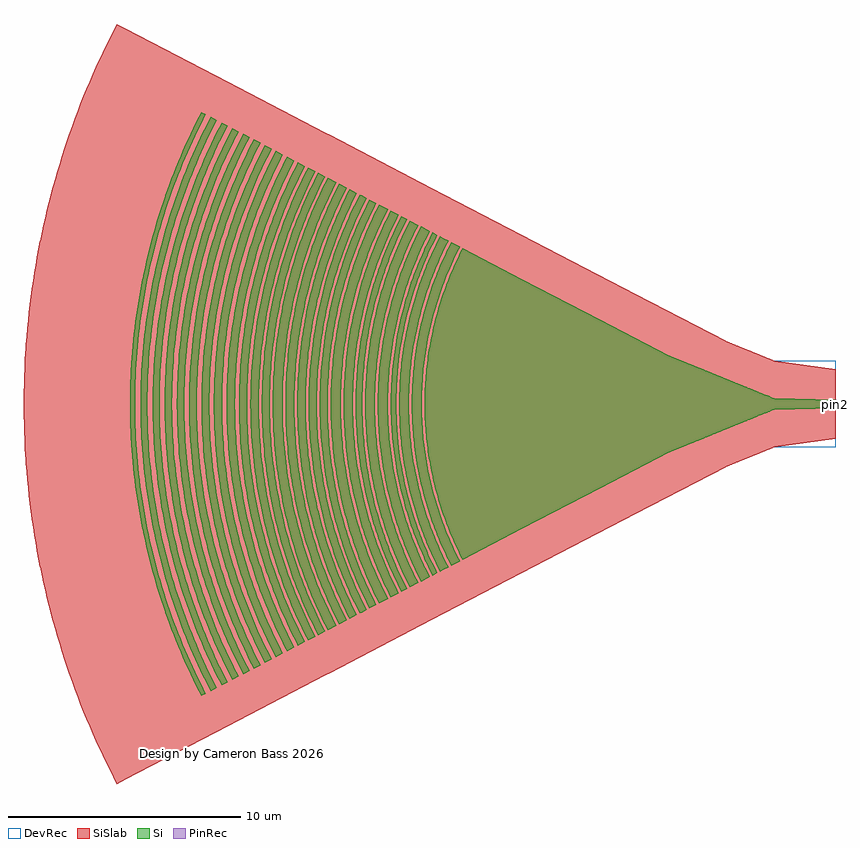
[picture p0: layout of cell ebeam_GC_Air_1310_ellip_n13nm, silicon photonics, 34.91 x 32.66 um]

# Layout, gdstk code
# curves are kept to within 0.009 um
import gdstk
lib = gdstk.Library(unit=1e-6, precision=1e-09)
def P(c, l, *ps):  # polygons
    for p in ps: c.add(gdstk.Polygon(p, *l))
Si = (1, 0)
PinRec = (1, 10)
SiSlab = (2, 0)
DevRec = (68, 0)

ebeam_gc_air_1310_ellip_ = lib.new_cell('ebeam_GC_Air_1310_ellip_n13nm')
P(ebeam_gc_air_1310_ellip_, Si, [(-16.042,-6.698),(-16.398,-5.964),(-16.772,-5.048),(-17.001,-4.38),(-17.265,-3.428),(-17.441,-2.599),(-17.568,-1.761),(-17.646,-0.917),(-17.674,-0.071),(-17.646,0.917),(-17.568,1.761),(-17.441,2.6),(-17.265,3.428),(-17.001,4.38),(-16.772,5.048),(-16.398,5.964),(-16.042,6.698),(-7.157,2.071),(-3.19,0.452),(-2.882,0.338),(-2.697,0.25),(-2.651,0.237),(0,0.175),(0,-0.175),(-2.664,-0.239),(-2.851,-0.325),(-3.205,-0.458),(-7.128,-2.058)],
  [(-16.534,-6.953),(-16.901,-6.194),(-17.238,-5.38),(-17.527,-4.549),(-17.766,-3.703),(-17.957,-2.843),(-18.097,-1.974),(-18.196,-0.953),(-18.226,-0.073),(-18.205,0.806),(-18.132,1.684),(-17.984,2.7),(-17.801,3.56),(-17.527,4.549),(-17.238,5.38),(-16.901,6.194),(-16.534,6.954),(-16.155,6.756),(-16.513,6.015),(-16.84,5.226),(-17.12,4.419),(-17.282,3.872),(-17.388,3.458),(-17.565,2.622),(-17.693,1.777),(-17.78,0.784),(-17.8,0.071),(-17.78,-0.784),(-17.693,-1.777),(-17.565,-2.621),(-17.388,-3.458),(-17.12,-4.419),(-16.84,-5.226),(-16.513,-6.015),(-16.155,-6.756)],
  [(-17.015,-7.204),(-17.395,-6.418),(-17.744,-5.575),(-18.043,-4.714),(-18.291,-3.837),(-18.488,-2.947),(-18.633,-2.046),(-18.726,-1.139),(-18.753,-0.683),(-18.767,-0.076),(-18.745,0.835),(-18.67,1.744),(-18.613,2.197),(-18.516,2.797),(-18.327,3.689),(-18.174,4.278),(-18.043,4.714),(-17.744,5.575),(-17.395,6.418),(-17.015,7.204),(-16.646,7.012),(-16.893,6.515),(-17.076,6.11),(-17.407,5.288),(-17.69,4.446),(-17.925,3.59),(-18.108,2.722),(-18.241,1.845),(-18.322,0.961),(-18.352,0.074),(-18.331,-0.813),(-18.241,-1.845),(-18.108,-2.722),(-17.925,-3.59),(-17.69,-4.446),(-17.407,-5.287),(-17.076,-6.11),(-16.893,-6.515),(-16.646,-7.012)],
  [(-17.335,-7.371),(-17.724,-6.566),(-18.081,-5.704),(-18.387,-4.823),(-18.641,-3.926),(-18.843,-3.014),(-18.924,-2.555),(-19.011,-1.939),(-19.097,-1.01),(-19.128,-0.078),(-19.106,0.855),(-19.029,1.785),(-18.898,2.709),(-18.813,3.167),(-18.678,3.775),(-18.433,4.674),(-18.136,5.558),(-17.968,5.994),(-17.724,6.567),(-17.335,7.371),(-17.128,7.262),(-17.572,6.329),(-17.915,5.477),(-18.116,4.898),(-18.295,4.312),(-18.52,3.421),(-18.667,2.669),(-18.778,1.911),(-18.862,0.996),(-18.893,0.077),(-18.871,-0.843),(-18.812,-1.606),(-18.716,-2.366),(-18.552,-3.271),(-18.295,-4.312),(-17.967,-5.332),(-17.806,-5.763),(-17.572,-6.329),(-17.128,-7.262)],
  [(-17.831,-7.629),(-18.298,-6.649),(-18.659,-5.753),(-18.967,-4.838),(-19.22,-3.907),(-19.42,-2.962),(-19.564,-2.007),(-19.653,-1.045),(-19.686,-0.08),(-19.662,0.885),(-19.583,1.847),(-19.448,2.804),(-19.327,3.436),(-19.22,3.907),(-18.967,4.838),(-18.659,5.753),(-18.485,6.204),(-18.233,6.797),(-17.831,7.629),(-17.448,7.429),(-17.903,6.475),(-18.198,5.75),(-18.507,4.861),(-18.764,3.957),(-18.996,2.884),(-19.136,1.955),(-19.2,1.331),(-19.232,0.862),(-19.254,0.078),(-19.232,-0.862),(-19.2,-1.331),(-19.136,-1.955),(-18.996,-2.884),(-18.801,-3.804),(-18.684,-4.259),(-18.507,-4.861),(-18.198,-5.75),(-17.903,-6.475),(-17.448,-7.429)],
  [(-18.311,-7.879),(-18.727,-7.018),(-18.987,-6.406),(-19.166,-5.941),(-19.485,-4.996),(-19.746,-4.034),(-19.952,-3.059),(-20.102,-2.072),(-20.193,-1.08),(-20.227,-0.083),(-20.203,0.914),(-20.121,1.908),(-19.981,2.895),(-19.785,3.873),(-19.485,4.996),(-19.166,5.942),(-18.987,6.406),(-18.727,7.019),(-18.311,7.879),(-17.945,7.688),(-18.35,6.848),(-18.542,6.402),(-18.778,5.798),(-19.088,4.876),(-19.345,3.937),(-19.546,2.984),(-19.691,2.023),(-19.781,1.054),(-19.814,0.081),(-19.79,-0.892),(-19.71,-1.861),(-19.574,-2.825),(-19.485,-3.304),(-19.345,-3.936),(-19.224,-4.407),(-19.04,-5.03),(-18.721,-5.95),(-18.35,-6.848),(-17.945,-7.688)],
  [(-18.673,-8.067),(-19.099,-7.185),(-19.49,-6.241),(-19.825,-5.277),(-19.971,-4.788),(-20.143,-4.13),(-20.354,-3.132),(-20.507,-2.121),(-20.601,-1.105),(-20.635,-0.085),(-20.611,0.935),(-20.527,1.953),(-20.384,2.964),(-20.256,3.632),(-20.143,4.13),(-19.875,5.115),(-19.549,6.083),(-19.168,7.03),(-18.957,7.494),(-18.673,8.067),(-18.424,7.938),(-18.703,7.375),(-18.91,6.917),(-19.166,6.299),(-19.342,5.828),(-19.505,5.353),(-19.699,4.713),(-19.83,4.227),(-19.981,3.575),(-20.16,2.586),(-20.265,1.755),(-20.33,0.921),(-20.354,0.084),(-20.33,-0.921),(-20.265,-1.755),(-20.16,-2.586),(-20.015,-3.411),(-19.909,-3.901),(-19.745,-4.55),(-19.556,-5.193),(-19.398,-5.67),(-19.166,-6.298),(-18.977,-6.763),(-18.703,-7.375),(-18.424,-7.937)],
  [(-19.131,-8.306),(-19.57,-7.398),(-19.845,-6.752),(-20.034,-6.262),(-20.369,-5.266),(-20.645,-4.252),(-20.862,-3.224),(-21.02,-2.184),(-21.116,-1.138),(-21.152,-0.088),(-21.142,0.613),(-21.116,1.138),(-21.02,2.184),(-20.862,3.224),(-20.645,4.252),(-20.369,5.266),(-20.034,6.262),(-19.641,7.238),(-19.424,7.715),(-19.131,8.306),(-18.787,8.126),(-19.216,7.237),(-19.484,6.606),(-19.668,6.127),(-19.996,5.152),(-20.268,4.16),(-20.48,3.154),(-20.634,2.138),(-20.728,1.114),(-20.763,0.086),(-20.738,-0.943),(-20.654,-1.967),(-20.51,-2.985),(-20.416,-3.491),(-20.268,-4.16),(-19.996,-5.152),(-19.784,-5.803),(-19.608,-6.287),(-19.216,-7.236),(-18.787,-8.126)],
  [(-19.63,-8.566),(-20.081,-7.631),(-20.496,-6.629),(-20.851,-5.605),(-21.146,-4.562),(-21.38,-3.503),(-21.553,-2.433),(-21.663,-1.354),(-21.694,-0.813),(-21.712,-0.09),(-21.686,0.993),(-21.596,2.075),(-21.445,3.148),(-21.309,3.857),(-21.189,4.387),(-20.905,5.432),(-20.681,6.12),(-20.496,6.629),(-20.081,7.631),(-19.63,8.566),(-19.245,8.365),(-19.539,7.771),(-19.758,7.288),(-20.091,6.472),(-20.271,5.974),(-20.49,5.304),(-20.727,4.453),(-20.955,3.421),(-21.124,2.376),(-21.202,1.674),(-21.243,1.146),(-21.279,0.088),(-21.274,-0.441),(-21.243,-1.146),(-21.146,-2.2),(-20.988,-3.246),(-20.769,-4.282),(-20.49,-5.303),(-20.328,-5.807),(-20.091,-6.472),(-19.758,-7.288),(-19.539,-7.77),(-19.245,-8.365)],
  [(-20.045,-8.782),(-20.509,-7.821),(-20.934,-6.794),(-21.299,-5.744),(-21.601,-4.675),(-21.841,-3.59),(-22.018,-2.493),(-22.131,-1.388),(-22.163,-0.833),(-22.181,-0.093),(-22.154,1.018),(-22.063,2.125),(-21.993,2.677),(-21.875,3.409),(-21.645,4.496),(-21.353,5.567),(-20.999,6.62),(-20.584,7.652),(-20.354,8.157),(-20.045,8.782),(-19.747,8.626),(-19.971,8.178),(-20.275,7.517),(-20.553,6.845),(-20.744,6.333),(-20.976,5.644),(-21.133,5.121),(-21.274,4.593),(-21.438,3.885),(-21.604,2.99),(-21.727,2.088),(-21.817,1.001),(-21.843,0.091),(-21.833,-0.636),(-21.764,-1.726),(-21.659,-2.63),(-21.475,-3.706),(-21.359,-4.239),(-21.182,-4.945),(-20.976,-5.643),(-20.744,-6.333),(-20.553,-6.844),(-20.275,-7.516),(-19.971,-8.178),(-19.747,-8.626)],
  [(-20.465,-9.001),(-20.942,-8.014),(-21.378,-6.961),(-21.751,-5.886),(-21.915,-5.341),(-22.061,-4.791),(-22.192,-4.236),(-22.342,-3.493),(-22.512,-2.366),(-22.617,-1.233),(-22.656,-0.095),(-22.628,1.043),(-22.534,2.179),(-22.375,3.306),(-22.271,3.865),(-22.106,4.607),(-21.807,5.705),(-21.634,6.247),(-21.378,6.961),(-20.942,8.014),(-20.465,9.002),(-20.159,8.841),(-20.47,8.212),(-20.775,7.531),(-21.053,6.84),(-21.244,6.313),(-21.419,5.783),(-21.63,5.067),(-21.813,4.344),(-21.931,3.798),(-22.092,2.879),(-22.209,1.954),(-22.281,1.025),(-22.308,0.093),(-22.29,-0.839),(-22.227,-1.769),(-22.119,-2.695),(-21.931,-3.798),(-21.813,-4.344),(-21.63,-5.067),(-21.419,-5.783),(-21.244,-6.313),(-21.053,-6.839),(-20.775,-7.531),(-20.47,-8.212),(-20.159,-8.841)],
  [(-20.9,-9.227),(-21.39,-8.212),(-21.836,-7.134),(-22.036,-6.586),(-22.219,-6.032),(-22.387,-5.474),(-22.537,-4.91),(-22.671,-4.341),(-22.825,-3.579),(-23,-2.425),(-23.107,-1.263),(-23.146,-0.097),(-23.141,0.487),(-23.107,1.263),(-23,2.425),(-22.825,3.58),(-22.583,4.721),(-22.277,5.846),(-21.905,6.952),(-21.469,8.035),(-21.227,8.566),(-20.9,9.227),(-20.583,9.061),(-20.904,8.413),(-21.216,7.715),(-21.501,7.007),(-21.697,6.468),(-21.877,5.924),(-22.093,5.191),(-22.236,4.636),(-22.401,3.891),(-22.566,2.95),(-22.686,2.002),(-22.76,1.051),(-22.788,0.096),(-22.769,-0.86),(-22.705,-1.812),(-22.594,-2.761),(-22.401,-3.891),(-22.236,-4.636),(-22.093,-5.191),(-21.877,-5.924),(-21.697,-6.468),(-21.501,-7.007),(-21.216,-7.715),(-20.904,-8.413),(-20.583,-9.061)],
  [(-21.351,-9.462),(-21.687,-8.784),(-21.934,-8.239),(-22.166,-7.687),(-22.381,-7.129),(-22.763,-5.995),(-23.077,-4.841),(-23.325,-3.671),(-23.504,-2.487),(-23.614,-1.295),(-23.654,-0.1),(-23.649,0.499),(-23.614,1.296),(-23.504,2.487),(-23.325,3.671),(-23.077,4.841),(-22.763,5.995),(-22.381,7.13),(-22.166,7.688),(-21.934,8.24),(-21.687,8.784),(-21.351,9.462),(-21.013,9.285),(-21.258,8.797),(-21.585,8.085),(-21.812,7.544),(-22.09,6.812),(-22.28,6.257),(-22.509,5.508),(-22.707,4.75),(-22.877,3.987),(-23.046,3.023),(-23.169,2.051),(-23.245,1.076),(-23.273,0.098),(-23.254,-0.881),(-23.188,-1.857),(-23.075,-2.829),(-22.877,-3.986),(-22.707,-4.75),(-22.509,-5.508),(-22.34,-6.07),(-22.09,-6.812),(-21.812,-7.544),(-21.585,-8.085),(-21.342,-8.62),(-21.013,-9.285)],
  [(-21.839,-9.715),(-22.094,-9.206),(-22.436,-8.462),(-22.674,-7.895),(-22.895,-7.321),(-23.1,-6.743),(-23.287,-6.157),(-23.61,-4.972),(-23.746,-4.372),(-23.864,-3.77),(-23.965,-3.163),(-24.048,-2.554),(-24.161,-1.33),(-24.191,-0.716),(-24.202,-0.102),(-24.173,1.126),(-24.072,2.351),(-23.965,3.163),(-23.864,3.77),(-23.746,4.372),(-23.61,4.972),(-23.457,5.568),(-23.287,6.157),(-23.1,6.743),(-22.895,7.322),(-22.674,7.895),(-22.436,8.462),(-22.094,9.206),(-21.839,9.716),(-21.464,9.52),(-21.802,8.839),(-22.05,8.29),(-22.5,7.174),(-22.883,6.033),(-23.051,5.454),(-23.201,4.871),(-23.45,3.693),(-23.63,2.503),(-23.694,1.904),(-23.74,1.304),(-23.781,0.1),(-23.762,-0.903),(-23.694,-1.904),(-23.548,-3.099),(-23.374,-4.088),(-23.201,-4.871),(-23.051,-5.453),(-22.824,-6.224),(-22.635,-6.795),(-22.357,-7.549),(-22.13,-8.106),(-21.802,-8.839),(-21.464,-9.52)],
  [(-22.253,-9.931),(-22.779,-8.84),(-23.028,-8.263),(-23.26,-7.679),(-23.474,-7.09),(-23.734,-6.293),(-24.064,-5.082),(-24.323,-3.853),(-24.426,-3.233),(-24.511,-2.61),(-24.578,-1.986),(-24.627,-1.36),(-24.657,-0.733),(-24.669,-0.105),(-24.663,0.524),(-24.639,1.151),(-24.536,2.402),(-24.457,3.026),(-24.36,3.647),(-24.245,4.264),(-24.064,5.082),(-23.734,6.293),(-23.542,6.892),(-23.333,7.484),(-23.107,8.07),(-22.864,8.649),(-22.514,9.409),(-22.253,9.931),(-21.952,9.774),(-22.297,9.076),(-22.552,8.513),(-22.867,7.752),(-23.084,7.172),(-23.284,6.588),(-23.524,5.8),(-23.684,5.202),(-23.87,4.399),(-23.989,3.792),(-24.09,3.182),(-24.219,2.16),(-24.299,1.133),(-24.329,0.103),(-24.299,-1.133),(-24.219,-2.16),(-24.09,-3.182),(-23.989,-3.792),(-23.87,-4.399),(-23.684,-5.202),(-23.524,-5.798),(-23.284,-6.587),(-23.084,-7.172),(-22.791,-7.943),(-22.552,-8.512),(-22.297,-9.076),(-21.952,-9.774)],
  [(-22.687,-10.157),(-22.956,-9.621),(-23.227,-9.039),(-23.482,-8.449),(-23.719,-7.852),(-23.938,-7.249),(-24.14,-6.639),(-24.324,-6.024),(-24.541,-5.196),(-24.683,-4.569),(-24.806,-3.94),(-24.912,-3.306),(-24.999,-2.669),(-25.067,-2.031),(-25.117,-1.39),(-25.148,-0.75),(-25.16,-0.107),(-25.154,0.536),(-25.129,1.177),(-25.086,1.818),(-25.024,2.456),(-24.943,3.094),(-24.844,3.729),(-24.683,4.569),(-24.541,5.196),(-24.381,5.817),(-24.203,6.435),(-24.007,7.047),(-23.794,7.652),(-23.563,8.251),(-23.314,8.844),(-23.048,9.429),(-22.687,10.157),(-22.369,9.991),(-22.723,9.276),(-22.984,8.7),(-23.306,7.922),(-23.527,7.33),(-23.796,6.532),(-24.034,5.723),(-24.331,4.496),(-24.523,3.461),(-24.666,2.417),(-24.757,1.368),(-24.788,0.737),(-24.8,0.105),(-24.78,-0.948),(-24.743,-1.578),(-24.688,-2.207),(-24.556,-3.252),(-24.331,-4.496),(-24.141,-5.316),(-23.977,-5.927),(-23.796,-6.532),(-23.527,-7.33),(-23.306,-7.922),(-22.984,-8.7),(-22.723,-9.276),(-22.369,-9.991)],
  [(-23.119,-10.382),(-23.397,-9.828),(-23.674,-9.234),(-23.934,-8.631),(-24.177,-8.021),(-24.401,-7.405),(-24.608,-6.782),(-24.796,-6.154),(-24.965,-5.52),(-25.116,-4.882),(-25.249,-4.239),(-25.363,-3.593),(-25.458,-2.944),(-25.534,-2.293),(-25.606,-1.42),(-25.638,-0.765),(-25.65,-0.109),(-25.644,0.547),(-25.619,1.202),(-25.574,1.857),(-25.511,2.509),(-25.428,3.161),(-25.289,4.025),(-25.162,4.668),(-25.017,5.308),(-24.796,6.155),(-24.672,6.573),(-24.472,7.199),(-24.254,7.817),(-24.017,8.429),(-23.763,9.034),(-23.492,9.631),(-23.119,10.382),(-22.817,10.225),(-23.181,9.488),(-23.534,8.702),(-23.778,8.104),(-24.004,7.498),(-24.279,6.682),(-24.464,6.063),(-24.684,5.229),(-24.827,4.599),(-25.024,3.54),(-25.117,2.901),(-25.192,2.258),(-25.275,1.185),(-25.307,0.108),(-25.286,-0.97),(-25.192,-2.258),(-25.117,-2.9),(-25.024,-3.54),(-24.827,-4.599),(-24.684,-5.229),(-24.465,-6.063),(-24.279,-6.682),(-24.004,-7.498),(-23.778,-8.104),(-23.448,-8.899),(-23.181,-9.488),(-22.817,-10.224)],
  [(-23.588,-10.627),(-24.16,-9.446),(-24.426,-8.829),(-24.674,-8.205),(-24.904,-7.575),(-25.115,-6.938),(-25.308,-6.294),(-25.481,-5.647),(-25.636,-4.993),(-25.771,-4.337),(-25.923,-3.454),(-26.014,-2.789),(-26.085,-2.122),(-26.137,-1.453),(-26.17,-0.782),(-26.183,-0.112),(-26.176,0.56),(-26.15,1.23),(-26.105,1.9),(-26.04,2.567),(-25.955,3.233),(-25.851,3.897),(-25.683,4.775),(-25.534,5.43),(-25.367,6.08),(-25.181,6.724),(-24.976,7.364),(-24.753,7.996),(-24.511,8.622),(-24.251,9.241),(-23.973,9.852),(-23.588,10.627),(-23.275,10.463),(-23.651,9.704),(-23.924,9.102),(-24.18,8.493),(-24.493,7.669),(-24.707,7.044),(-24.964,6.201),(-25.136,5.562),(-25.335,4.704),(-25.537,3.62),(-25.686,2.528),(-25.749,1.871),(-25.794,1.212),(-25.826,0.11),(-25.805,-0.992),(-25.767,-1.651),(-25.709,-2.309),(-25.571,-3.403),(-25.335,-4.704),(-25.189,-5.348),(-24.965,-6.2),(-24.707,-7.043),(-24.493,-7.668),(-24.18,-8.493),(-23.924,-9.102),(-23.651,-9.704),(-23.275,-10.463)],
  [(-24.071,-10.878),(-24.369,-10.285),(-24.659,-9.663),(-24.932,-9.032),(-25.186,-8.394),(-25.421,-7.75),(-25.705,-6.879),(-25.895,-6.219),(-26.066,-5.555),(-26.218,-4.885),(-26.351,-4.212),(-26.464,-3.534),(-26.557,-2.853),(-26.63,-2.171),(-26.683,-1.486),(-26.717,-0.8),(-26.73,-0.114),(-26.723,0.573),(-26.697,1.258),(-26.65,1.943),(-26.557,2.854),(-26.464,3.534),(-26.351,4.212),(-26.218,4.885),(-26.066,5.555),(-25.895,6.219),(-25.705,6.879),(-25.495,7.533),(-25.266,8.181),(-25.018,8.821),(-24.752,9.454),(-24.468,10.078),(-24.071,10.878),(-23.763,10.717),(-24.054,10.137),(-24.34,9.523),(-24.608,8.902),(-24.937,8.063),(-25.233,7.21),(-25.434,6.564),(-25.616,5.912),(-25.829,5.035),(-25.965,4.372),(-26.083,3.706),(-26.236,2.588),(-26.334,1.465),(-26.367,0.789),(-26.38,0.113),(-26.358,-1.015),(-26.318,-1.69),(-26.26,-2.364),(-26.118,-3.483),(-26.007,-4.15),(-25.876,-4.815),(-25.727,-5.474),(-25.497,-6.347),(-25.233,-7.21),(-25.014,-7.85),(-24.777,-8.484),(-24.431,-9.317),(-24.054,-10.137),(-23.763,-10.717)],
  [(-24.541,-11.123),(-24.848,-10.513),(-25.145,-9.877),(-25.424,-9.232),(-25.683,-8.58),(-25.924,-7.921),(-26.145,-7.255),(-26.346,-6.582),(-26.584,-5.678),(-26.739,-4.993),(-26.875,-4.305),(-26.99,-3.612),(-27.085,-2.917),(-27.16,-2.219),(-27.215,-1.519),(-27.249,-0.819),(-27.262,-0.117),(-27.249,0.819),(-27.215,1.52),(-27.16,2.22),(-27.085,2.918),(-26.99,3.612),(-26.875,4.305),(-26.739,4.993),(-26.584,5.678),(-26.408,6.358),(-26.214,7.031),(-25.999,7.7),(-25.765,8.362),(-25.512,9.016),(-25.24,9.663),(-24.848,10.513),(-24.541,11.123),(-24.244,10.968),(-24.645,10.161),(-24.932,9.53),(-25.285,8.678),(-25.528,8.029),(-25.823,7.155),(-26.021,6.493),(-26.202,5.823),(-26.41,4.925),(-26.622,3.791),(-26.778,2.647),(-26.879,1.499),(-26.912,0.808),(-26.925,0.115),(-26.919,-0.576),(-26.892,-1.269),(-26.802,-2.418),(-26.722,-3.106),(-26.622,-3.791),(-26.41,-4.925),(-26.202,-5.823),(-26.022,-6.491),(-25.823,-7.155),(-25.528,-8.029),(-25.285,-8.678),(-24.932,-9.53),(-24.645,-10.161),(-24.244,-10.968)],
  [(-25.014,-11.369),(-25.329,-10.743),(-25.633,-10.094),(-25.917,-9.435),(-26.183,-8.768),(-26.428,-8.095),(-26.654,-7.414),(-26.861,-6.727),(-27.046,-6.034),(-27.211,-5.336),(-27.357,-4.633),(-27.481,-3.928),(-27.586,-3.218),(-27.669,-2.506),(-27.732,-1.791),(-27.783,-0.836),(-27.797,-0.12),(-27.79,0.598),(-27.762,1.314),(-27.713,2.03),(-27.644,2.743),(-27.553,3.455),(-27.401,4.399),(-27.262,5.103),(-27.103,5.802),(-26.861,6.728),(-26.725,7.186),(-26.506,7.869),(-26.267,8.545),(-26.008,9.214),(-25.633,10.094),(-25.329,10.743),(-25.014,11.369),(-24.724,11.218),(-25.136,10.389),(-25.429,9.744),(-25.703,9.092),(-25.958,8.433),(-26.194,7.765),(-26.478,6.865),(-26.669,6.183),(-26.891,5.266),(-27.119,4.109),(-27.228,3.41),(-27.317,2.707),(-27.386,2.003),(-27.434,1.297),(-27.468,0.118),(-27.461,-0.589),(-27.434,-1.297),(-27.342,-2.472),(-27.194,-3.643),(-27.078,-4.341),(-26.941,-5.036),(-26.728,-5.954),(-26.544,-6.638),(-26.268,-7.541),(-26.039,-8.21),(-25.703,-9.092),(-25.429,-9.744),(-25.136,-10.389),(-24.724,-11.217)],
  [(-25.476,-11.609),(-25.798,-10.969),(-26.108,-10.306),(-26.398,-9.633),(-26.669,-8.952),(-26.92,-8.265),(-27.151,-7.57),(-27.362,-6.869),(-27.551,-6.161),(-27.772,-5.21),(-27.913,-4.492),(-28.034,-3.769),(-28.133,-3.043),(-28.211,-2.316),(-28.268,-1.585),(-28.303,-0.855),(-28.318,-0.122),(-28.303,0.855),(-28.268,1.585),(-28.211,2.316),(-28.133,3.043),(-28.034,3.769),(-27.913,4.492),(-27.772,5.21),(-27.609,5.924),(-27.362,6.869),(-27.224,7.336),(-27,8.034),(-26.755,8.725),(-26.491,9.407),(-26.207,10.083),(-25.798,10.969),(-25.476,11.609),(-25.198,11.464),(-25.62,10.616),(-25.919,9.957),(-26.199,9.291),(-26.46,8.617),(-26.777,7.705),(-26.991,7.015),(-27.187,6.318),(-27.414,5.381),(-27.56,4.672),(-27.686,3.961),(-27.849,2.767),(-27.919,2.047),(-27.968,1.326),(-28.003,0.121),(-27.98,-1.085),(-27.938,-1.806),(-27.875,-2.526),(-27.791,-3.245),(-27.686,-3.96),(-27.465,-5.145),(-27.305,-5.85),(-27.059,-6.783),(-26.851,-7.476),(-26.543,-8.389),(-26.289,-9.067),(-25.919,-9.957),(-25.62,-10.616),(-25.198,-11.464)],
  [(-25.941,-11.851),(-26.27,-11.197),(-26.587,-10.52),(-26.883,-9.834),(-27.16,-9.139),(-27.416,-8.437),(-27.652,-7.727),(-27.867,-7.012),(-28.06,-6.289),(-28.285,-5.318),(-28.43,-4.585),(-28.552,-3.847),(-28.654,-3.106),(-28.734,-2.364),(-28.792,-1.618),(-28.828,-0.871),(-28.842,-0.125),(-28.828,0.871),(-28.792,1.618),(-28.734,2.364),(-28.654,3.107),(-28.552,3.848),(-28.43,4.585),(-28.285,5.318),(-28.119,6.047),(-27.933,6.772),(-27.726,7.489),(-27.497,8.201),(-27.248,8.905),(-26.978,9.603),(-26.587,10.52),(-26.27,11.197),(-25.941,11.852),(-25.668,11.709),(-25.993,11.064),(-26.405,10.169),(-26.691,9.488),(-26.958,8.8),(-27.281,7.869),(-27.57,6.928),(-27.761,6.214),(-27.931,5.495),(-28.169,4.287),(-28.283,3.558),(-28.376,2.825),(-28.448,2.09),(-28.498,1.354),(-28.534,0.123),(-28.526,-0.615),(-28.498,-1.354),(-28.402,-2.58),(-28.247,-3.801),(-28.126,-4.529),(-27.984,-5.255),(-27.82,-5.975),(-27.57,-6.927),(-27.281,-7.869),(-27.042,-8.567),(-26.691,-9.488),(-26.405,-10.168),(-25.993,-11.063),(-25.668,-11.709)],
  [(-26.4,-12.09),(-26.736,-11.422),(-27.059,-10.732),(-27.361,-10.031),(-27.643,-9.322),(-27.905,-8.606),(-28.145,-7.882),(-28.364,-7.151),(-28.561,-6.416),(-28.737,-5.673),(-28.892,-4.926),(-29.025,-4.176),(-29.135,-3.421),(-29.224,-2.664),(-29.291,-1.904),(-29.345,-0.889),(-29.36,-0.127),(-29.352,0.636),(-29.323,1.397),(-29.271,2.158),(-29.197,2.917),(-29.101,3.673),(-28.939,4.677),(-28.791,5.425),(-28.622,6.169),(-28.432,6.907),(-28.221,7.64),(-27.987,8.366),(-27.733,9.084),(-27.458,9.796),(-27.059,10.732),(-26.736,11.422),(-26.4,12.09),(-26.137,11.953),(-26.578,11.067),(-26.89,10.38),(-27.182,9.685),(-27.454,8.983),(-27.784,8.033),(-28.008,7.313),(-28.274,6.343),(-28.448,5.61),(-28.601,4.871),(-28.732,4.129),(-28.902,2.885),(-29.012,1.633),(-29.048,0.879),(-29.063,0.126),(-29.055,-0.628),(-29.026,-1.382),(-28.929,-2.634),(-28.841,-3.383),(-28.732,-4.129),(-28.601,-4.871),(-28.448,-5.61),(-28.274,-6.343),(-28.079,-7.071),(-27.861,-7.793),(-27.54,-8.745),(-27.275,-9.452),(-26.89,-10.38),(-26.578,-11.067),(-26.137,-11.953)],
  [(-26.87,-12.335),(-27.318,-11.433),(-27.64,-10.725),(-27.942,-10.006),(-28.223,-9.279),(-28.482,-8.546),(-28.72,-7.804),(-28.867,-7.306),(-29.13,-6.301),(-29.302,-5.541),(-29.452,-4.778),(-29.58,-4.009),(-29.686,-3.237),(-29.768,-2.463),(-29.829,-1.686),(-29.867,-0.908),(-29.882,-0.13),(-29.867,0.909),(-29.829,1.686),(-29.768,2.463),(-29.686,3.237),(-29.58,4.009),(-29.452,4.778),(-29.302,5.542),(-29.13,6.301),(-28.867,7.306),(-28.72,7.804),(-28.482,8.546),(-28.223,9.28),(-27.942,10.006),(-27.64,10.725),(-27.318,11.433),(-26.87,12.336),(-26.604,12.197),(-27.054,11.292),(-27.373,10.591),(-27.671,9.882),(-27.948,9.165),(-28.205,8.439),(-28.513,7.461),(-28.721,6.72),(-28.962,5.724),(-29.21,4.465),(-29.329,3.706),(-29.426,2.942),(-29.5,2.177),(-29.552,1.41),(-29.59,0.128),(-29.565,-1.154),(-29.52,-1.921),(-29.453,-2.687),(-29.292,-3.959),(-29.165,-4.718),(-29.017,-5.473),(-28.785,-6.471),(-28.585,-7.214),(-28.364,-7.952),(-28.036,-8.923),(-27.766,-9.644),(-27.373,-10.591),(-27.054,-11.292),(-26.604,-12.196)],
  [(-27.268,-12.543),(-27.617,-11.847),(-27.952,-11.131),(-28.265,-10.405),(-28.557,-9.669),(-28.814,-8.968),(-29.077,-8.176),(-29.304,-7.418),(-29.508,-6.655),(-29.69,-5.885),(-29.85,-5.111),(-29.988,-4.331),(-30.103,-3.549),(-30.22,-2.501),(-30.276,-1.793),(-30.32,-0.922),(-30.335,-0.132),(-30.327,0.659),(-30.297,1.449),(-30.243,2.239),(-30.136,3.287),(-30.029,4.071),(-29.899,4.852),(-29.746,5.627),(-29.571,6.399),(-29.374,7.165),(-29.155,7.924),(-28.914,8.678),(-28.65,9.423),(-28.365,10.161),(-27.952,11.132),(-27.617,11.848),(-27.268,12.543),(-27.083,12.446),(-27.421,11.772),(-27.753,11.06),(-28.163,10.096),(-28.446,9.363),(-28.708,8.622),(-28.948,7.874),(-29.235,6.865),(-29.423,6.103),(-29.688,4.82),(-29.817,4.045),(-29.923,3.267),(-30.007,2.485),(-30.068,1.702),(-30.106,0.916),(-30.121,0.131),(-30.096,-1.179),(-30.05,-1.963),(-29.981,-2.745),(-29.89,-3.526),(-29.776,-4.304),(-29.64,-5.077),(-29.481,-5.847),(-29.3,-6.612),(-29.097,-7.371),(-28.79,-8.373),(-28.536,-9.116),(-28.26,-9.853),(-27.859,-10.82),(-27.534,-11.536),(-27.083,-12.446)])
P(ebeam_gc_air_1310_ellip_, SiSlab, [(-30.904,-16.329),(-31.366,-15.41),(-31.801,-14.477),(-32.208,-13.533),(-32.588,-12.577),(-32.94,-11.61),(-33.264,-10.634),(-33.559,-9.648),(-33.825,-8.655),(-34.062,-7.654),(-34.27,-6.647),(-34.449,-5.634),(-34.598,-4.616),(-34.717,-3.594),(-34.807,-2.569),(-34.867,-1.543),(-34.9,-0.171),(-34.89,0.857),(-34.85,1.885),(-34.781,2.912),(-34.681,3.935),(-34.552,4.956),(-34.393,5.972),(-34.135,7.319),(-33.907,8.322),(-33.651,9.318),(-33.365,10.307),(-33.051,11.286),(-32.709,12.256),(-32.338,13.216),(-31.94,14.164),(-31.366,15.41),(-30.904,16.329),(-4.744,2.708),(-2.65,1.855),(0,1.5),(0,-1.5),(-2.65,-1.855),(-4.728,-2.7)])
P(ebeam_gc_air_1310_ellip_, DevRec, [(-30.904,-16.329),(-31.366,-15.41),(-31.801,-14.477),(-32.208,-13.533),(-32.588,-12.577),(-32.94,-11.61),(-33.264,-10.634),(-33.559,-9.648),(-33.825,-8.655),(-34.062,-7.654),(-34.27,-6.647),(-34.449,-5.634),(-34.598,-4.616),(-34.717,-3.594),(-34.807,-2.569),(-34.867,-1.543),(-34.9,-0.171),(-34.89,0.857),(-34.85,1.885),(-34.781,2.912),(-34.681,3.935),(-34.552,4.956),(-34.393,5.972),(-34.135,7.319),(-33.907,8.322),(-33.651,9.318),(-33.365,10.307),(-33.051,11.286),(-32.709,12.256),(-32.338,13.216),(-31.94,14.164),(-31.366,15.41),(-30.904,16.329),(-4.744,2.708),(-2.65,1.855),(0,1.855),(0,-1.855),(-2.65,-1.855),(-4.728,-2.7)])
ebeam_gc_air_1310_ellip_.add(gdstk.FlexPath([(-0.01,0),(0.01,0)], 0.35, ends="flush", simple_path=True, layer=1, datatype=10))  # PinRec
ebeam_gc_air_1310_ellip_.add(gdstk.Label('pin2', (0,0), layer=1, texttype=10))
ebeam_gc_air_1310_ellip_.add(gdstk.Label('Design by Cameron Bass 2026', (-25.94,-15.02), layer=10, texttype=0))

lib.write_gds('ebeam_GC_Air_1310_ellip_n13nm.gds')
